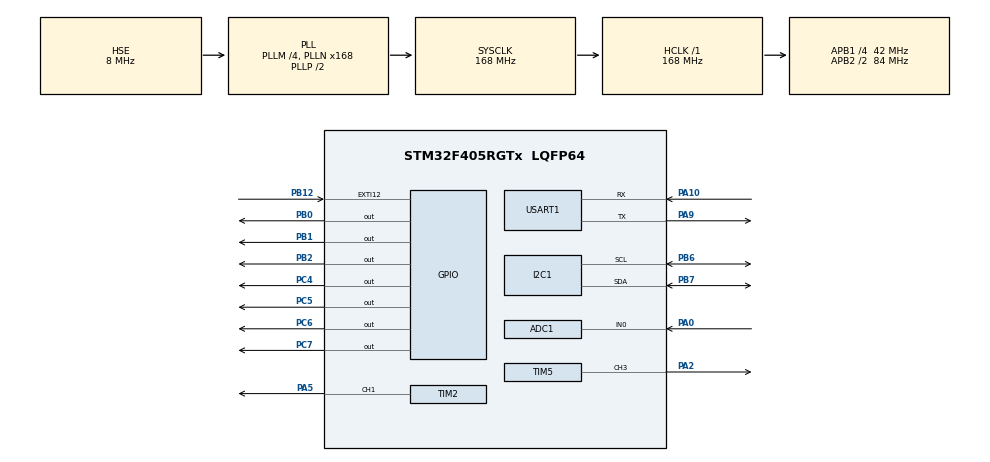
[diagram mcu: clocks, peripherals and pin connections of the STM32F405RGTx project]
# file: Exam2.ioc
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ADC1.Channel-3\#ChannelRegularConversion=ADC_CHANNEL_0
ADC1.ContinuousConvMode=ENABLE
ADC1.DMAContinuousRequests=ENABLE
ADC1.NbrOfConversionFlag=1
ADC1.Rank-3\#ChannelRegularConversion=1
ADC1.SamplingTime-3\#ChannelRegularConversion=ADC_SAMPLETIME_56CYCLES
ADC1.master=1
Dma.ADC1.0.Direction=DMA_PERIPH_TO_MEMORY
Dma.ADC1.0.FIFOMode=DMA_FIFOMODE_DISABLE
Dma.ADC1.0.Instance=DMA2_Stream0
Dma.ADC1.0.MemDataAlignment=DMA_MDATAALIGN_HALFWORD
Dma.ADC1.0.MemInc=DMA_MINC_ENABLE
Dma.ADC1.0.Mode=DMA_CIRCULAR
Dma.ADC1.0.PeriphDataAlignment=DMA_PDATAALIGN_HALFWORD
Dma.ADC1.0.PeriphInc=DMA_PINC_DISABLE
Dma.ADC1.0.Priority=DMA_PRIORITY_LOW
Dma.Request0=ADC1
I2C1.I2C_Mode=I2C_Fast
Mcu.Family=STM32F4
Mcu.Name=STM32F405RGTx
Mcu.Package=LQFP64
NVIC.DMA2_Stream0_IRQn=true\:0\:0\:false\:false\:true\:false\:true
NVIC.EXTI15_10_IRQn=true\:0\:0\:false\:false\:true\:true\:true
NVIC.PriorityGroup=NVIC_PRIORITYGROUP_4
NVIC.USART1_IRQn=true\:0\:0\:false\:false\:true\:true\:true
PA0-WKUP.Signal=ADCx_IN0
PA10.Mode=Asynchronous
PA10.Signal=USART1_RX
PA13.Mode=Serial_Wire
PA13.Signal=SYS_JTMS-SWDIO
PA14.Mode=Serial_Wire
PA14.Signal=SYS_JTCK-SWCLK
PA2.Signal=S_TIM5_CH3
PA5.Signal=S_TIM2_CH1_ETR
PA9.Mode=Asynchronous
PA9.Signal=USART1_TX
PB0.Signal=GPIO_Output
PB1.Signal=GPIO_Output
PB12.GPIO_PuPd=GPIO_NOPULL
PB12.Signal=GPXTI12
PB2.Signal=GPIO_Output
PB6.Mode=I2C
PB6.Signal=I2C1_SCL
PB7.Mode=I2C
PB7.Signal=I2C1_SDA
PC4.Signal=GPIO_Output
PC5.Signal=GPIO_Output
PC6.Signal=GPIO_Output
PC7.Signal=GPIO_Output
PH0-OSC_IN.Mode=HSE-External-Oscillator
PH0-OSC_IN.Signal=RCC_OSC_IN
PH1-OSC_OUT.Mode=HSE-External-Oscillator
PH1-OSC_OUT.Signal=RCC_OSC_OUT
ProjectManager.HeapSize=0x200
ProjectManager.StackSize=0x400
ProjectManager.TargetToolchain=EWARM V8.32
RCC.48MHZClocksFreq_Value=84000000
RCC.AHBFreq_Value=168000000
RCC.APB1CLKDivider=RCC_HCLK_DIV4
RCC.APB1Freq_Value=42000000
RCC.APB1TimFreq_Value=84000000
RCC.APB2CLKDivider=RCC_HCLK_DIV2
RCC.APB2Freq_Value=84000000
RCC.APB2TimFreq_Value=168000000
RCC.CortexFreq_Value=168000000
RCC.HCLKFreq_Value=168000000
RCC.HSE_VALUE=8000000
RCC.HSI_VALUE=16000000
RCC.LSE_VALUE=32768
RCC.PLLM=4
RCC.PLLN=168
RCC.PLLSourceVirtual=RCC_PLLSOURCE_HSE
RCC.SYSCLKFreq_VALUE=168000000
RCC.SYSCLKSource=RCC_SYSCLKSOURCE_PLLCLK
RCC.VCOOutputFreq_Value=336000000
SH.ADCx_IN0.0=ADC1_IN0,IN0
SH.S_TIM2_CH1_ETR.0=TIM2_CH1,PWM Generation1 CH1
SH.S_TIM5_CH3.0=TIM5_CH3,PWM Generation3 CH3
TIM2.Channel-PWM\ Generation1\ CH1=TIM_CHANNEL_1
TIM5.Channel-PWM\ Generation3\ CH3=TIM_CHANNEL_3
USART1.VirtualMode=VM_ASYNC
VP_TIM2_VS_ClockSourceINT.Mode=Internal
VP_TIM5_VS_ClockSourceINT.Mode=Internal
VP_TIM9_VS_ClockSourceINT.Mode=Internal
board=custom

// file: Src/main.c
/* USER CODE BEGIN Header */
/**
******************************************************************************
* @file           : main.c
* @brief          : Main program body
******************************************************************************
* @attention
*
* <h2><center>&copy; Copyright (c) 2020 STMicroelectronics.
* All rights reserved.</center></h2>
*
* This software component is licensed by ST under BSD 3-Clause license,
* the "License"; You may not use this file except in compliance with the
* License. You may obtain a copy of the License at:
*                        opensource.org/licenses/BSD-3-Clause
*
******************************************************************************
*/
/* USER CODE END Header */

#include "main.h"
#include "adc.h"
#include "dma.h"
#include "i2c.h"
#include "tim.h"
#include "usart.h"
#include "gpio.h"

/* USER CODE BEGIN Includes */
#include "lcd.h"
#include "stdio.h"
/* USER CODE END Includes */

/* USER CODE BEGIN PD */

//SHT2 명령어 설정
#define SHT2x_ADDR              0x40<<1
#define SHT2x_HOLD_MASTER_T     0xE3
#define SHT2x_HOLD_MASTER_RH    0xE5
#define SHT2x_NOHOLD_MASTER_T   0xF3
#define SHT2x_NOHOLD_MASTER_RH  0xF5
#define SHT2x_WRITE_USER_REG    0xE6
#define SHT2x_READ_USER_REG     0xE7
#define SHT2x_SOFT_RESET        0xFE

/* USER CODE END PD */

/* USER CODE BEGIN PV */

//LED PWM  펄스 값
uint8_t led_pwm=0;

//Cds ADC 설정 값
uint16_t adcData=0;
char str[16];

//PIANO 설정 값
uint16_t DoReMi[]={523,587,659,698,783,880,987,1046};
uint16_t piano = 0;
uint16_t piano_pwm;

//온 습도 설정 값
uint8_t i2cData[2],mode;
uint16_t val=0;
float TEMP,HUMI;
char str[16];

//UART 통신 수신 값
uint8_t rxData='?';

uint8_t piano_con=0;

//인터럽트 컨트롤 값
uint8_t stop=0;

/* USER CODE END PV */

void SystemClock_Config(void);
/* USER CODE BEGIN PFP */

void LED();
void Cds();
void PIANO();
void Temp_Humi();
void Menu();

int fputc(int ch, FILE *stream)
{
  HAL_UART_Transmit(&huart1,(uint8_t*)&ch,1,10);
  return ch;
}

/* USER CODE END PFP */

int main(void)
{

  /* MCU Configuration--------------------------------------------------------*/

  /* Reset of all peripherals, Initializes the Flash interface and the Systick. */
  HAL_Init();

  /* Configure the system clock */
  SystemClock_Config();

  /* Initialize all configured peripherals */
  MX_GPIO_Init();
  MX_DMA_Init();
  MX_ADC1_Init();
  MX_I2C1_Init();
  MX_TIM5_Init();
  MX_TIM2_Init();
  MX_USART1_UART_Init();
  MX_TIM9_Init();
  /* USER CODE BEGIN 2 */
  lcdInit();

  HAL_ADC_Start_DMA(&hadc1,(uint32_t*)&adcData,sizeof(adcData));         // Cds_ADC_DMA
  HAL_TIM_PWM_Start(&htim5,TIM_CHANNEL_3);                                        //LED PWM
  HAL_TIM_PWM_Start(&htim2,TIM_CHANNEL_1);                                       //PIANO PWM
  HAL_UART_Receive_IT(&huart1,&rxData,1);

  /* USER CODE END 2 */

  /* Infinite loop */
  /* USER CODE BEGIN WHILE */
  Menu();

  while (1)
  {

    switch(rxData)
    {
    case '0':
      piano=0;
      PIANO();
      break;
    case '1':
      piano=1;
      PIANO();
      break;
    case '2':
      piano=2;
      PIANO();
      break;
    case '3':
      piano=3;
      PIANO();
      break;
    case '4':
      piano=4;
      PIANO();
      break;
    case '5':
      piano=5;
      PIANO();
      break;
    case '6':
      piano=6;
      PIANO();
      break;
    case '7':
      piano=7;
      PIANO();
      break;
    case 'l':
      LED();
      break;
    case 'c':
      Cds();
      break;
    case 't':
      Temp_Humi();
      break;
    }

    rxData='?';
    HAL_Delay(5);
    /* USER CODE END WHILE */

  }
}

void SystemClock_Config(void)
{
  RCC_OscInitTypeDef RCC_OscInitStruct = {0};
  RCC_ClkInitTypeDef RCC_ClkInitStruct = {0};

  /** Configure the main internal regulator output voltage
  */
  __HAL_RCC_PWR_CLK_ENABLE();
  __HAL_PWR_VOLTAGESCALING_CONFIG(PWR_REGULATOR_VOLTAGE_SCALE1);
  /** Initializes the CPU, AHB and APB busses clocks
  */
  RCC_OscInitStruct.OscillatorType = RCC_OSCILLATORTYPE_HSE;
  RCC_OscInitStruct.HSEState = RCC_HSE_ON;
  RCC_OscInitStruct.PLL.PLLState = RCC_PLL_ON;
  RCC_OscInitStruct.PLL.PLLSource = RCC_PLLSOURCE_HSE;
  RCC_OscInitStruct.PLL.PLLM = 4;
  RCC_OscInitStruct.PLL.PLLN = 168;
  RCC_OscInitStruct.PLL.PLLP = RCC_PLLP_DIV2;
  RCC_OscInitStruct.PLL.PLLQ = 4;
  if (HAL_RCC_OscConfig(&RCC_OscInitStruct) != HAL_OK)
  {
    Error_Handler();
  }
  /** Initializes the CPU, AHB and APB busses clocks
  */
  RCC_ClkInitStruct.ClockType = RCC_CLOCKTYPE_HCLK|RCC_CLOCKTYPE_SYSCLK
                              |RCC_CLOCKTYPE_PCLK1|RCC_CLOCKTYPE_PCLK2;
  RCC_ClkInitStruct.SYSCLKSource = RCC_SYSCLKSOURCE_PLLCLK;
  RCC_ClkInitStruct.AHBCLKDivider = RCC_SYSCLK_DIV1;
  RCC_ClkInitStruct.APB1CLKDivider = RCC_HCLK_DIV4;
  RCC_ClkInitStruct.APB2CLKDivider = RCC_HCLK_DIV2;

  if (HAL_RCC_ClockConfig(&RCC_ClkInitStruct, FLASH_LATENCY_5) != HAL_OK)
  {
    Error_Handler();
  }
}

/* USER CODE BEGIN 4 */
void HAL_UART_RxCpltCallback(UART_HandleTypeDef *huart)
{
  if(huart->Instance == USART1)
  {

    HAL_UART_Receive_IT(&huart1,&rxData,1);

  }
}

void HAL_GPIO_EXTI_Callback(uint16_t GPIO_PIN) //인터럽트
{
  if(GPIO_PIN==GPIO_PIN_12) stop=1;
}

void Menu()
{

  printf("+++ Memu +++\n");
  printf("L : LED\n");
  printf("C : CDS(DMA)\n");
  printf("0~7 : PIANO\n");
  printf("T : Temp/Humi\n");
  printf("Push Button : stop\n\n");

}

void LED()
{
  printf("LED PWM PLAY\n");
  while(1)
  {
    if(stop==0)
    {

      TIM2->CCR1=led_pwm;

      led_pwm++;

      if(led_pwm==99) led_pwm=0;

      HAL_Delay(10);

    }
    else
    {
      stop=0;
      TIM2->CCR1=0;
      printf("LED PWM OFF\n\n");
      Menu();
      break;
    }
  }

}

void Cds()
{
  lcdClear();
  lcdGotoXY(0,0);
  lcdPrintData("  ADC_DMA_Mode",14);
  printf("Cds LCD PLAY\n");
  while(1)
  {
    if(stop==0)
    {
      sprintf(str,"Cds : %d",adcData);
      lcdGotoXY(0,1);
      lcdPrint(str);
      HAL_Delay(500);

    }
    else
    {
      stop=0;
      lcdClear();
      printf("Cds LCD OFF\n\n");
      Menu();
      break;
    }
  }

}

void PIANO()
{
  TIM5->EGR = TIM5->EGR | 0xfe;

  piano_pwm= 8400000/DoReMi[piano];
  TIM5->ARR = piano_pwm-1;
  TIM5->CCR3= piano_pwm/2;
  HAL_Delay(500);
  TIM5->ARR = 0;
  TIM5->CCR3 = 0;
  TIM5->EGR = TIM5->EGR | 0xff;

}

void Temp_Humi()
{
  printf("Temp_Humi PLAY\n");
  while(1)
  {
    if(stop==0)
    {
      mode= SHT2x_NOHOLD_MASTER_T; //mode 설정.

      HAL_I2C_Master_Transmit(&hi2c1,SHT2x_ADDR,&mode,1,10); //mode 설정 명령.
      HAL_Delay(100);
      HAL_I2C_Master_Receive(&hi2c1,SHT2x_ADDR,i2cData,2,10); // 온도 데이터 받기.

      val = i2cData[0] <<8 | i2cData[1];

      TEMP=-46.85 + 175.72*((float)val/65536); //온도 계산

      lcdGotoXY(0,0);
      sprintf(str,"TEMP : %.1lf`C",TEMP);
      lcdPrint(str);

      mode= SHT2x_NOHOLD_MASTER_RH;
      HAL_I2C_Master_Transmit(&hi2c1,SHT2x_ADDR,&mode,1,10); //mode 설정 명령.
      HAL_Delay(100);
      HAL_I2C_Master_Receive(&hi2c1,SHT2x_ADDR,i2cData,2,10); // 온도 데이터 받기.

      val = i2cData[0] <<8 | i2cData[1];

      HUMI= -6+125*((float)val/65536); //습도 계산

      lcdGotoXY(0,1);
      sprintf(str,"HUMI : %.1lf%",HUMI);
      lcdPrint(str);
    }
    else
    {
        stop=0;
        lcdClear();
        printf("Temp_Humi OFF\n\n");
        Menu();
        break;
    }
  }

}

/* USER CODE END 4 */

void Error_Handler(void)
{
}

/************************ (C) COPYRIGHT STMicroelectronics *****END OF FILE****/
